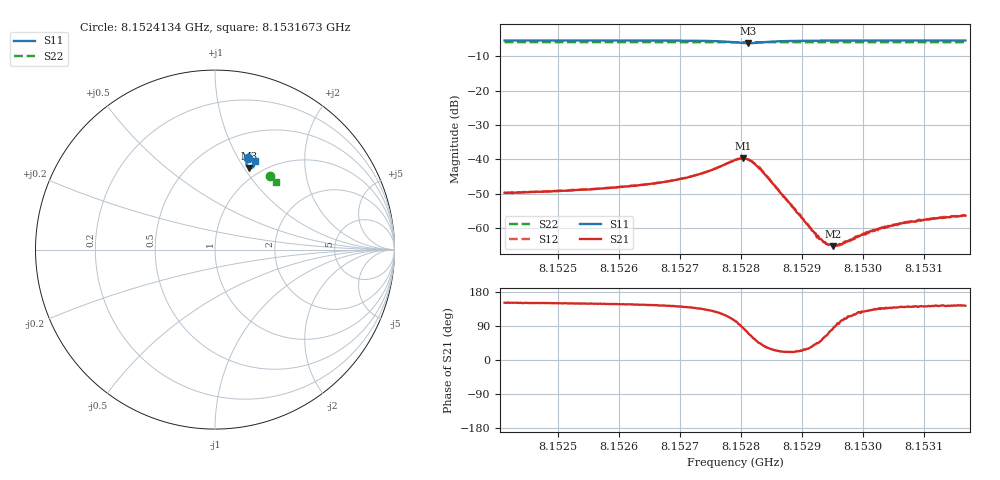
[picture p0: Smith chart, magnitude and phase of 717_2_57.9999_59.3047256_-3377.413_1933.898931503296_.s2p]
#  HZ  S  RI  R  50.00
! Rohde & Schwarz Vector Network Analyzer
! Rohde-Schwarz,ZNB20-2Port,1311601062101988,3.16
! Created: UTC 3/21/2024, 1:22:25 AM
! freq[Hz]  re:S11  im:S11  re:S21  im:S21  re:S12  im:S12  re:S22  im:S22
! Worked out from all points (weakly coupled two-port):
!   401 points, 8.1524134 GHz to 8.1531673 GHz, reference 50 ohm
!   highest |S21| = -39.72 dB at 8.1528035 GHz (marker M1); lowest = -65.3 dB at 8.1529505 GHz (marker M2)
!   lowest |S11| = -6.1 dB at 8.1528111 GHz (marker M3), VSWR 2.94, Z = 43.8 + j52.7 ohm
!   |S11| at or under -10 dB: nowhere
!   |S22| runs from -5.9 to -5.8 dB; largest |S21 - S12| = 0.00043
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8.15241339e9  0.1837 0.5082  -0.00285 0.00157  -0.00282 0.00161  0.3063 0.4094
8.15253966e9  0.1939 0.5044  -0.00309 0.00187  -0.00308 0.0019  0.3126 0.4042
8.15261128e9  0.2001 0.5015  -0.00334 0.00219  -0.00334 0.00227  0.3163 0.4014
8.15266594e9  0.2059 0.4983  -0.00368 0.00268  -0.00369 0.00272  0.3189 0.399
8.15272813e9  0.2143 0.4905  -0.0043 0.00409  -0.00429 0.00414  0.322 0.3962
8.15275075e9  0.2178 0.4845  -0.00448 0.00526  -0.00441 0.00532  0.3231 0.395
8.15279033e9  0.2132 0.4607  -0.00223 0.00955  -0.00215 0.00952  0.3246 0.3926
8.15280352e9  0.1995 0.4538  0.000962 0.0103  0.000978 0.0102  0.3245 0.3921
8.15281106e9  0.1893 0.4551  0.00299 0.00952  0.00305 0.00955  0.3245 0.392
8.15282048e9  0.1793 0.4627  0.00482 0.00739  0.00483 0.00758  0.3247 0.392
8.15283179e9  0.1753 0.4749  0.00522 0.005  0.00535 0.00512  0.3253 0.3921
8.1529166e9  0.1983 0.4985  0.000734 0.000531  0.000766 0.00052  0.3304 0.3892
8.15292603e9  0.2 0.4985  0.000542 0.000539  0.000527 0.000554  0.3307 0.3887
8.15293733e9  0.2019 0.4985  0.000294 0.000541  0.000327 0.000537  0.3313 0.3884
8.15294299e9  0.2026 0.4984  0.000194 0.000532  0.000187 0.000536  0.3316 0.3881
8.15295053e9  0.2039 0.4983  7.1e-05 0.000536  8.68e-05 0.000551  0.3321 0.3877
8.15295995e9  0.2051 0.498  -5.49e-05 0.000571  -6.67e-05 0.000549  0.3324 0.3874
8.1530033e9  0.2103 0.4971  -0.000499 0.000623  -0.000519 0.000666  0.3346 0.3854
8.15301272e9  0.2113 0.4969  -0.000598 0.00068  -0.000619 0.000675  0.3351 0.3851
8.15304288e9  0.214 0.496  -0.00078 0.0007  -0.000777 0.000707  0.3366 0.3838
8.15309376e9  0.2185 0.4945  -0.001 0.000778  -0.00103 0.000808  0.339 0.3815
8.15316727e9  0.2244 0.4925  -0.0012 0.000904  -0.00123 0.000893  0.3425 0.3782
